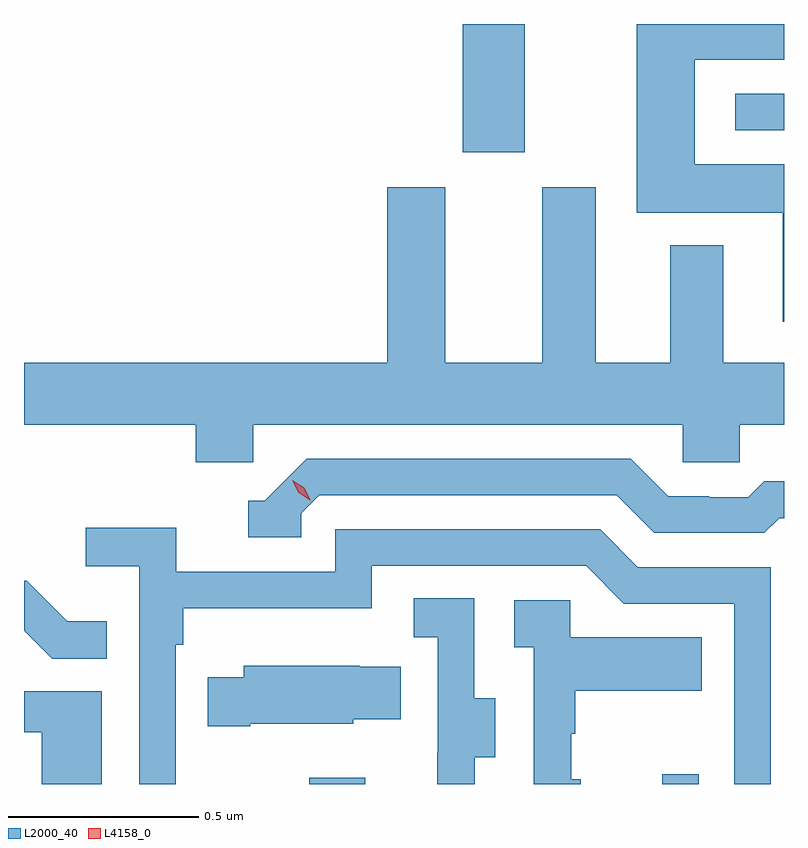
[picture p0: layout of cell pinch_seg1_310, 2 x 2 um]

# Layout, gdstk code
import gdstk
lib = gdstk.Library(unit=1e-6, precision=1e-09)
def R(c, l, rs):  # rectangles x0, y0, x1, y1
    for r in rs: c.add(gdstk.rectangle(r[:2], r[2:], *l))
def P(c, l, *ps):  # polygons
    for p in ps: c.add(gdstk.Polygon(p, *l))
L2000_40 = (2000, 40)
L4158_0 = (4158, 0)

pinch_seg1_310 = lib.new_cell('pinch_seg1_310')
R(pinch_seg1_310, L2000_40, [(921.958,556.115,922.105,556.132), (922.886,556.115,922.983,556.141), (922.361,557.778,922.525,558.115), (923.079,557.835,923.207,557.931)])
P(pinch_seg1_310, L2000_40, [(923.207,557.746),(922.972,557.746),(922.972,558.021),(923.207,558.021),(923.207,558.115),(922.819,558.115),(922.819,557.618),(923.204,557.618),(923.204,557.331),(923.207,557.331)],
  [(921.81,557.06),(922.941,557.06),(922.941,556.962),(923.091,556.962),(923.091,557.06),(923.207,557.06),(923.207,557.224),(923.047,557.224),(923.047,557.533),(922.907,557.533),(922.907,557.224),(922.711,557.224),(922.711,557.686),(922.571,557.686),(922.571,557.224),(922.315,557.224),(922.315,557.686),(922.163,557.686),(922.163,557.224),(921.207,557.224),(921.207,557.06),(921.659,557.06),(921.659,556.962),(921.81,556.962)],
  [(921.936,556.827),(921.984,556.875),(922.767,556.875),(922.866,556.776),(923.155,556.776),(923.194,556.815),(923.207,556.815),(923.207,556.912),(923.155,556.912),(923.113,556.869),(923.01,556.869),(923.01,556.872),(922.903,556.872),(922.804,556.971),(921.951,556.971),(921.84,556.86),(921.797,556.86),(921.797,556.764),(921.936,556.764)],
  [(921.606,556.481),(921.626,556.481),(921.626,556.577),(922.122,556.577),(922.122,556.689),(922.686,556.689),(922.785,556.59),(923.076,556.59),(923.076,556.115),(923.172,556.115),(923.172,556.686),(922.822,556.686),(922.723,556.785),(922.026,556.785),(922.026,556.674),(921.608,556.674),(921.608,556.79),(921.369,556.79),(921.369,556.688),(921.51,556.688),(921.51,556.115),(921.606,556.115)],
  [(921.425,556.543),(921.321,556.543),(921.214,556.65),(921.207,556.65),(921.207,556.518),(921.281,556.444),(921.425,556.444)],
  [(922.393,556.186),(922.447,556.186),(922.447,556.341),(922.392,556.341),(922.392,556.604),(922.233,556.604),(922.233,556.501),(922.296,556.501),(922.296,556.197),(922.295,556.197),(922.295,556.115),(922.393,556.115)],
  [(922.672,556.128),(922.647,556.128),(922.647,556.247),(922.657,556.247),(922.657,556.361),(922.991,556.361),(922.991,556.501),(922.644,556.501),(922.644,556.599),(922.497,556.599),(922.497,556.475),(922.548,556.475),(922.548,556.115),(922.672,556.115)],
  [(921.802,556.274),(922.074,556.274),(922.074,556.286),(922.199,556.286),(922.199,556.423),(922.091,556.423),(922.091,556.426),(921.785,556.426),(921.785,556.396),(921.691,556.396),(921.691,556.267),(921.802,556.267)],
  [(921.412,556.359),(921.207,556.359),(921.207,556.251),(921.254,556.251),(921.254,556.115),(921.412,556.115)])
P(pinch_seg1_310, L4158_0, [(921.961,556.861),(921.93,556.881),(921.913,556.914),(921.913,556.914),(921.913,556.914),(921.944,556.894),(921.961,556.861),(921.961,556.861)])

lib.write_gds('pinch_seg1_310.gds')
